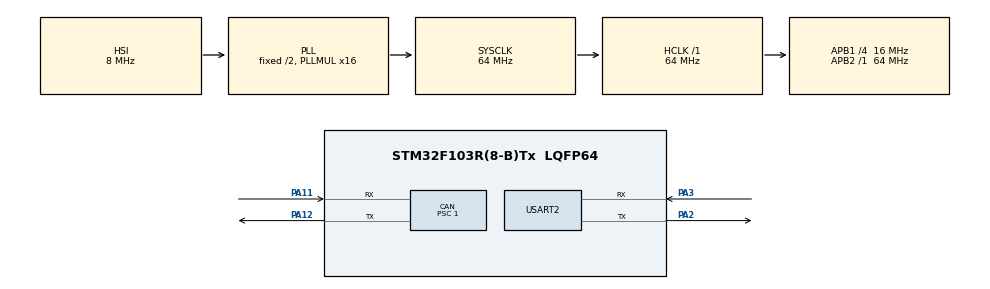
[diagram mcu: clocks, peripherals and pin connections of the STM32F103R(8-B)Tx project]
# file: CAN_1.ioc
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CAN.BS1=CAN_BS1_13TQ
CAN.BS2=CAN_BS2_2TQ
CAN.CalculateBaudRate=1000000
CAN.CalculateTimeBit=1000
CAN.CalculateTimeQuantum=62.5
CAN.Prescaler=1
CAN.SJW=CAN_SJW_1TQ
Mcu.Family=STM32F1
Mcu.Name=STM32F103R(8-B)Tx
Mcu.Package=LQFP64
NVIC.PriorityGroup=NVIC_PRIORITYGROUP_4
NVIC.USB_HP_CAN1_TX_IRQn=true\:0\:0\:false\:false\:true\:true\:true\:true
NVIC.USB_LP_CAN1_RX0_IRQn=true\:0\:0\:false\:false\:true\:true\:true\:true
PA11.Mode=CAN_Activate
PA11.Signal=CAN_RX
PA12.Mode=CAN_Activate
PA12.Signal=CAN_TX
PA13.Mode=Serial_Wire
PA13.Signal=SYS_JTMS-SWDIO
PA14.Mode=Serial_Wire
PA14.Signal=SYS_JTCK-SWCLK
PA2.Mode=Asynchronous
PA2.Signal=USART2_TX
PA3.Mode=Asynchronous
PA3.Signal=USART2_RX
PC14-OSC32_IN.Mode=LSE-External-Clock-Source
PC14-OSC32_IN.Signal=RCC_OSC32_IN
PC15-OSC32_OUT.Mode=LSE-External-Clock-Source
PC15-OSC32_OUT.Signal=RCC_OSC32_OUT
ProjectManager.HeapSize=0x200
ProjectManager.StackSize=0x400
ProjectManager.TargetToolchain=STM32CubeIDE
RCC.AHBFreq_Value=64000000
RCC.APB1CLKDivider=RCC_HCLK_DIV4
RCC.APB1Freq_Value=16000000
RCC.APB1TimFreq_Value=32000000
RCC.APB2Freq_Value=64000000
RCC.APB2TimFreq_Value=64000000
RCC.HCLKFreq_Value=64000000
RCC.PLLMUL=RCC_PLL_MUL16
RCC.SYSCLKFreq_VALUE=64000000
RCC.SYSCLKSource=RCC_SYSCLKSOURCE_PLLCLK
RCC.USBFreq_Value=64000000
USART2.VirtualMode=VM_ASYNC
board=custom

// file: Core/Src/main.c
/* USER CODE BEGIN Header */
/**
  ******************************************************************************
  * @file           : main.c
  * @brief          : Main program body
  ******************************************************************************
  * @attention
  *
  * Copyright (c) 2022 STMicroelectronics.
  * All rights reserved.
  *
  * This software is licensed under terms that can be found in the LICENSE file
  * in the root directory of this software component.
  * If no LICENSE file comes with this software, it is provided AS-IS.
  *
  ******************************************************************************
  */
/* USER CODE END Header */
#include "main.h"

CAN_HandleTypeDef hcan;

UART_HandleTypeDef huart2;

/* USER CODE BEGIN PV */
CAN_TxHeaderTypeDef txheader;
CAN_TxHeaderTypeDef txheader2;
CAN_TxHeaderTypeDef txheader3;
CAN_TxHeaderTypeDef txheader4;
uint8_t TxData[8];
uint32_t TxMailbox;
/* USER CODE END PV */

void SystemClock_Config(void);
static void MX_GPIO_Init(void);
static void MX_CAN_Init(void);
static void MX_USART2_UART_Init(void);

/* USER CODE BEGIN 0 */
int _write(int file, char *ptr, int len){
	HAL_UART_Transmit(&huart2, (char*)ptr, (uint16_t) len, 100);
	return(len);
}
/* USER CODE END 0 */

int main(void)
{

  /* MCU Configuration--------------------------------------------------------*/

  /* Reset of all peripherals, Initializes the Flash interface and the Systick. */
  HAL_Init();

  /* Configure the system clock */
  SystemClock_Config();

  /* Initialize all configured peripherals */
  MX_GPIO_Init();
  MX_CAN_Init();
  MX_USART2_UART_Init();
  /* USER CODE BEGIN 2 */
  if(HAL_CAN_Start(&hcan)!=HAL_OK){
	  Error_Handler();
  }
  printf("Can Start\r\n");

  txheader.StdId=0x0f;
  txheader.ExtId=0x00;
  txheader.RTR=CAN_RTR_DATA;
  txheader.IDE=CAN_ID_STD;
  txheader.DLC=8;
  txheader.TransmitGlobalTime=DISABLE;

//  txheader2.StdId=0x07;
//  txheader2.ExtId=0x00;
//  txheader2.RTR=CAN_RTR_DATA;
//  txheader2.IDE=CAN_ID_STD;
//  txheader2.DLC=8;
//  txheader2.TransmitGlobalTime=DISABLE;
//
//  txheader3.StdId=0xFF;
//  txheader3.ExtId=0x11;
//  txheader3.RTR=CAN_RTR_DATA;
//  txheader3.IDE=CAN_ID_EXT;
//  txheader3.DLC=8;
//  txheader3.TransmitGlobalTime=DISABLE;
//
//  txheader4.StdId=0xFF;
//  txheader4.ExtId=0x33;
//  txheader4.RTR=CAN_RTR_DATA;
//  txheader4.IDE=CAN_ID_EXT;
//  txheader4.DLC=8;
//  txheader4.TransmitGlobalTime=DISABLE;

  TxData[0]=1;
  TxData[1]=2;
  TxData[2]=3;
  TxData[3]=4;
  TxData[4]=5;
  TxData[5]=6;
  TxData[6]=7;
  TxData[7]=8;

  /* USER CODE END 2 */

  /* Infinite loop */
  while (1)
  {

    /* USER CODE BEGIN 3 */
	  if(HAL_CAN_AddTxMessage(&hcan, &txheader, TxData, &TxMailbox)!=HAL_OK){
		  Error_Handler();
	  }
	  printf("StdID: %04lx\r\n",txheader.StdId);
//	  if(HAL_CAN_AddTxMessage(&hcan, &txheader2, TxData, &TxMailbox)!=HAL_OK){
//		  Error_Handler();
//	  }
//	  printf("StdID: %04lx\r\n",txheader2.StdId);
//	  if(HAL_CAN_AddTxMessage(&hcan, &txheader3, TxData, &TxMailbox)!=HAL_OK){
//		  Error_Handler();
//	  }
//	  printf("StdID: %04lx, ExtID: %04lx\r\n",txheader3.StdId,txheader3.ExtId);
//	  if(HAL_CAN_AddTxMessage(&hcan, &txheader4, TxData, &TxMailbox)!=HAL_OK){
//		  Error_Handler();
//	  }
//	  printf("StdID: %04lx, ExtID: %04lx\r\n",txheader4.StdId,txheader4.ExtId);
	  printf("send success\r\n\r\n");
	  HAL_Delay(500);
  }
  /* USER CODE END 3 */
}

void SystemClock_Config(void)
{
  RCC_OscInitTypeDef RCC_OscInitStruct = {0};
  RCC_ClkInitTypeDef RCC_ClkInitStruct = {0};

  /** Initializes the RCC Oscillators according to the specified parameters
  * in the RCC_OscInitTypeDef structure.
  */
  RCC_OscInitStruct.OscillatorType = RCC_OSCILLATORTYPE_HSI;
  RCC_OscInitStruct.HSIState = RCC_HSI_ON;
  RCC_OscInitStruct.HSICalibrationValue = RCC_HSICALIBRATION_DEFAULT;
  RCC_OscInitStruct.PLL.PLLState = RCC_PLL_ON;
  RCC_OscInitStruct.PLL.PLLSource = RCC_PLLSOURCE_HSI_DIV2;
  RCC_OscInitStruct.PLL.PLLMUL = RCC_PLL_MUL16;
  if (HAL_RCC_OscConfig(&RCC_OscInitStruct) != HAL_OK)
  {
    Error_Handler();
  }

  /** Initializes the CPU, AHB and APB buses clocks
  */
  RCC_ClkInitStruct.ClockType = RCC_CLOCKTYPE_HCLK|RCC_CLOCKTYPE_SYSCLK
                              |RCC_CLOCKTYPE_PCLK1|RCC_CLOCKTYPE_PCLK2;
  RCC_ClkInitStruct.SYSCLKSource = RCC_SYSCLKSOURCE_PLLCLK;
  RCC_ClkInitStruct.AHBCLKDivider = RCC_SYSCLK_DIV1;
  RCC_ClkInitStruct.APB1CLKDivider = RCC_HCLK_DIV4;
  RCC_ClkInitStruct.APB2CLKDivider = RCC_HCLK_DIV1;

  if (HAL_RCC_ClockConfig(&RCC_ClkInitStruct, FLASH_LATENCY_2) != HAL_OK)
  {
    Error_Handler();
  }
}

static void MX_CAN_Init(void)
{

  hcan.Instance = CAN1;
  hcan.Init.Prescaler = 1;
  hcan.Init.Mode = CAN_MODE_NORMAL;
  hcan.Init.SyncJumpWidth = CAN_SJW_1TQ;
  hcan.Init.TimeSeg1 = CAN_BS1_13TQ;
  hcan.Init.TimeSeg2 = CAN_BS2_2TQ;
  hcan.Init.TimeTriggeredMode = DISABLE;
  hcan.Init.AutoBusOff = DISABLE;
  hcan.Init.AutoWakeUp = DISABLE;
  hcan.Init.AutoRetransmission = DISABLE;
  hcan.Init.ReceiveFifoLocked = DISABLE;
  hcan.Init.TransmitFifoPriority = DISABLE;
  if (HAL_CAN_Init(&hcan) != HAL_OK)
  {
    Error_Handler();
  }

}

static void MX_USART2_UART_Init(void)
{

  huart2.Instance = USART2;
  huart2.Init.BaudRate = 115200;
  huart2.Init.WordLength = UART_WORDLENGTH_8B;
  huart2.Init.StopBits = UART_STOPBITS_1;
  huart2.Init.Parity = UART_PARITY_NONE;
  huart2.Init.Mode = UART_MODE_TX_RX;
  huart2.Init.HwFlowCtl = UART_HWCONTROL_NONE;
  huart2.Init.OverSampling = UART_OVERSAMPLING_16;
  if (HAL_UART_Init(&huart2) != HAL_OK)
  {
    Error_Handler();
  }

}

static void MX_GPIO_Init(void)
{

  /* GPIO Ports Clock Enable */
  __HAL_RCC_GPIOC_CLK_ENABLE();
  __HAL_RCC_GPIOA_CLK_ENABLE();

}

void Error_Handler(void)
{
  __disable_irq();
  while (1)
  {
  }
}
